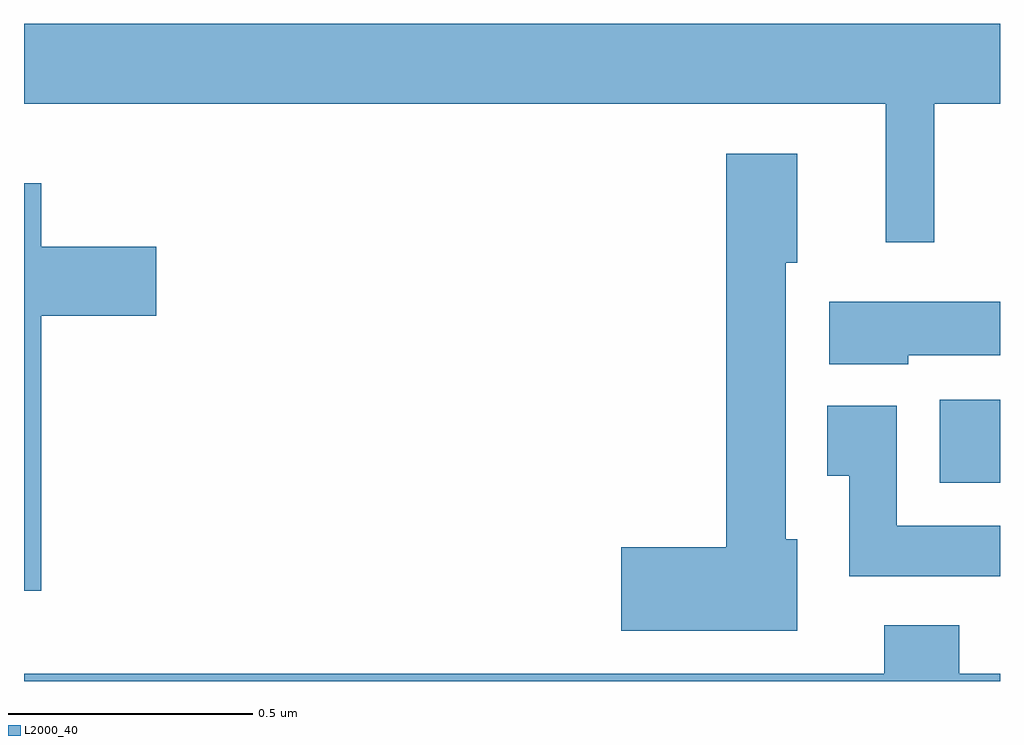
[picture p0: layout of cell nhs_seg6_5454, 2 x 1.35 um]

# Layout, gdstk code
import gdstk
lib = gdstk.Library(unit=1e-6, precision=1e-09)
def R(c, l, rs):  # rectangles x0, y0, x1, y1
    for r in rs: c.add(gdstk.rectangle(r[:2], r[2:], *l))
def P(c, l, *ps):  # polygons
    for p in ps: c.add(gdstk.Polygon(p, *l))
L2000_40 = (2000, 40)

nhs_seg6_5454 = lib.new_cell('nhs_seg6_5454')
R(nhs_seg6_5454, L2000_40, [(184.877,931.907,185,932.077)])
P(nhs_seg6_5454, L2000_40, [(184.865,932.684),(185,932.684),(185,932.848),(183,932.848),(183,932.684),(184.766,932.684),(184.766,932.4),(184.865,932.4)],
  [(184.585,931.791),(184.561,931.791),(184.561,932.358),(184.585,932.358),(184.585,932.581),(184.439,932.581),(184.439,931.775),(184.224,931.775),(184.224,931.604),(184.585,931.604)],
  [(183.035,932.249),(183.271,932.249),(183.271,932.391),(183.035,932.391),(183.035,932.521),(183,932.521),(183,931.686),(183.035,931.686)],
  [(184.812,932.168),(185,932.168),(185,932.278),(184.65,932.278),(184.65,932.15),(184.812,932.15)],
  [(185,931.819),(184.788,931.819),(184.788,932.065),(184.646,932.065),(184.646,931.921),(184.691,931.921),(184.691,931.715),(185,931.715)],
  [(185,931.516),(184.916,931.516),(184.916,931.615),(184.763,931.615),(184.763,931.516),(183,931.516),(183,931.5),(185,931.5)])

lib.write_gds('nhs_seg6_5454.gds')
